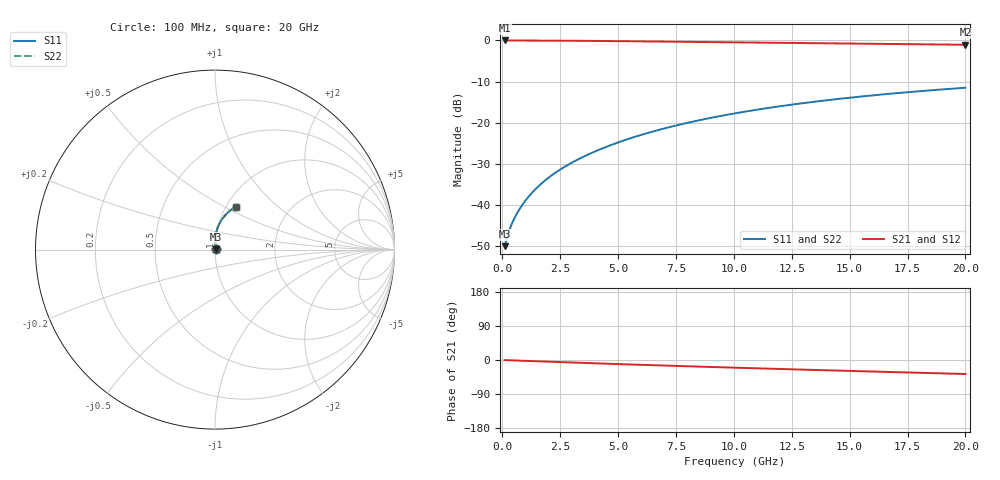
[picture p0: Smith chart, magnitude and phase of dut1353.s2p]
! Touchstone file exported from HFSS 2024.1.0
!  File:  C:/UserFiles/LocalFiles/RDL_TSV_Batchsim/temp_RDL_top_1353_1780366273.aedt
!  Generated:  10:13:22 AM Jun  2, 2026
!  Design:  RDL_top
!  Project:  temp_RDL_top_1353_1780366273
!  Setup:  Setup1
!  Solution:  Sweep
! Variables:
!  dtsv = 10.80580581um
!  hbump = 3um
!  htsv = 57.96um
!  ldown = 100um
!  lrdl = 593.13um
!  p = 40
!  p1 = 40.14um
!  rhole = 1um
!  t = 450um
!  tdown = 3.915915916um
!  trdl = 3.26um
!  wdown = 15.38538539um
!  wrdl = 24.47um
# GHz S MA R 50.000000
! Terminal data exported
! Port[1] = Box2_T1
! Port[2] = Box2_T2
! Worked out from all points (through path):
!   200 points, 100 MHz to 20 GHz, reference 50 ohm
!   highest |S21| = -0.03 dB at 100 MHz (marker M1); lowest = -1.1 dB at 20 GHz (marker M2)
!   group delay of S21, straight-line fit = 5.07 ps
!   lowest |S11| = -49.9 dB at 100 MHz (marker M3), VSWR 1.01, Z = 50.3 + j0.135 ohm
!   |S11| at or under -10 dB: start of sweep to end of sweep
!   |S22| runs from -49.9 to -11.5 dB; largest |S21 - S12| = 2.3e-15
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0.1  0.003183 24.9  0.9971 -0.2  0.9971 -0.2  0.003183 24.9
! Gamma 0 0 0 0
! Port Impedance 50 0 50 0
0.2  0.004009 39.9  0.9969 -0.5  0.9969 -0.5  0.004009 39.9
0.3  0.004928 48.4  0.9966 -0.7  0.9966 -0.7  0.004928 48.4
0.4  0.005837 54.1  0.9964 -0.9  0.9964 -0.9  0.005837 54.1
0.5  0.006735 58.4  0.9962 -1.2  0.9962 -1.2  0.006735 58.4
0.8  0.009474 67.3  0.9956 -1.8  0.9956 -1.8  0.009474 67.3
1  0.01137 71.3  0.9953 -2.3  0.9953 -2.3  0.01137 71.3
1.2  0.01333 74.4  0.9949 -2.7  0.9949 -2.7  0.01333 74.4
1.7  0.01842 79.5  0.9936 -3.8  0.9936 -3.8  0.01842 79.5
2.2  0.02376 82.6  0.9921 -4.9  0.9921 -4.9  0.02375 82.6
2.8  0.03046 85.0  0.9897 -6.2  0.9897 -6.2  0.03046 84.9
3.5  0.03869 86.6  0.9865 -7.7  0.9865 -7.7  0.03868 86.6
4.2  0.04735 87.5  0.9829 -9.1  0.9829 -9.1  0.04733 87.5
5  0.05772 87.9  0.9783 -10.8  0.9783 -10.8  0.05769 87.8
5.9  0.06992 87.7  0.9727 -12.6  0.9727 -12.6  0.06988 87.6
6.8  0.08257 87.0  0.9668 -14.3  0.9668 -14.3  0.08251 86.9
8.4  0.1058 85.0  0.9562 -17.3  0.9562 -17.3  0.1057 85.0
10.1  0.1309 82.3  0.945 -20.4  0.945 -20.4  0.1308 82.2
11.7  0.1544 79.4  0.9346 -23.2  0.9346 -23.2  0.1543 79.4
13.4  0.179 76.2  0.9239 -26.1  0.9239 -26.1  0.1788 76.2
16.7  0.2244 70.0  0.9037 -31.6  0.9037 -31.6  0.2242 70.0
20  0.2662 64.0  0.8842 -36.9  0.8842 -36.9  0.2659 64.0
